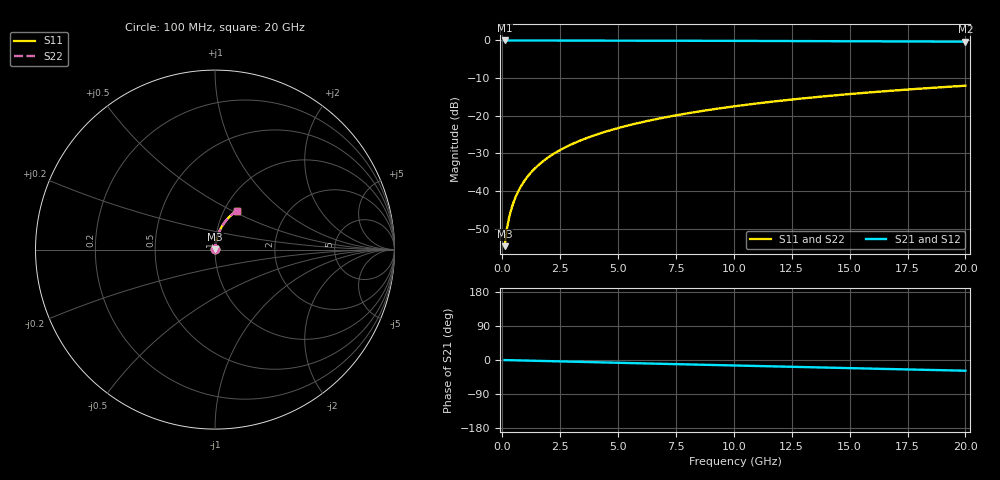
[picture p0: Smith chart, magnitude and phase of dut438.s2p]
! Touchstone file exported from HFSS 2026.1.0
!  File:  C:/ffzhzh/LocalFiles/Ansys_Project_Files/temp_train_BSMRDL_438_1783013032_51716.aedt
!  Generated:  01:25:20 AM Jul  3, 2026
!  Design:  BSMRDL
!  Project:  temp_train_BSMRDL_438_1783013032_51716
! Variables:
!  h_bsmrdl = 5.73um
!  h_ox = 20um
!  h_rdl = 5um
!  h_sub = 80um
!  h_tmrdl = 5um
!  h_tsv = 80um
!  h_via = 3um
!  l_bsmrdl = 398.31um
!  l_sub = 798.31um
!  l_tmrdl = 200um
!  m_sub = 200um
!  pitch = 57.39um
!  r_tsv = 6um
!  s_tmrdl = 10um
!  w_bsmrdl = 28.36um
!  w_sub = 500um
!  w_tmrdl = 12um
!  x_tsv_center1 = 206um
!  x_tsv_center2 = 632.67um
!  x_tsv_center3 = 844.67um
!  x_tsv_center4 = 1271.34um
!  x_tsv_center5 = 1483.34um
!  x_tsv_center6 = 1910.01um
# GHz S MA R 50.000000
! Terminal data exported
! Port[1] = BSM_RDL1_1_T1
! Port[2] = BSM_RDL1_1_T2
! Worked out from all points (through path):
!   200 points, 100 MHz to 20 GHz, reference 50 ohm
!   highest |S21| = -0.01 dB at 100 MHz (marker M1); lowest = -0.3 dB at 20 GHz (marker M2)
!   group delay of S21, straight-line fit = 3.93 ps
!   lowest |S11| = -54.6 dB at 100 MHz (marker M3), VSWR 1.00, Z = 50.1 + j0.154 ohm
!   |S11| at or under -10 dB: start of sweep to end of sweep
!   |S22| runs from -54.6 to -12.0 dB; largest |S21 - S12| = 4e-15
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0.1  0.001863 55.6  0.999 -0.2  0.999 -0.2  0.001863 55.6
! Gamma 0 0 0 0
! Port Impedance 50 0 50 0
0.2  0.00319 68.8  0.9989 -0.3  0.9989 -0.3  0.00319 68.8
0.3  0.004547 74.3  0.9988 -0.5  0.9988 -0.5  0.004547 74.3
0.4  0.005922 77.4  0.9988 -0.6  0.9988 -0.6  0.005922 77.4
0.5  0.00731 79.3  0.9987 -0.8  0.9987 -0.8  0.00731 79.3
0.7  0.01011 81.5  0.9986 -1.1  0.9986 -1.1  0.01011 81.5
0.8  0.01151 82.1  0.9986 -1.2  0.9986 -1.2  0.01151 82.1
1  0.01432 82.9  0.9985 -1.5  0.9985 -1.5  0.01432 82.8
1.2  0.01713 83.2  0.9984 -1.8  0.9984 -1.8  0.01713 83.2
1.4  0.01993 83.4  0.9982 -2.1  0.9982 -2.1  0.01993 83.4
1.7  0.02411 83.4  0.998 -2.5  0.998 -2.5  0.02411 83.4
2  0.02827 83.3  0.9978 -3.0  0.9978 -3.0  0.02827 83.3
2.7  0.03788 82.7  0.9971 -4.0  0.9971 -4.0  0.03788 82.7
3.5  0.04872 81.8  0.9962 -5.2  0.9962 -5.2  0.04872 81.8
4.2  0.05809 80.9  0.9954 -6.2  0.9954 -6.2  0.05809 80.9
5  0.06872 80.0  0.9944 -7.3  0.9944 -7.3  0.06872 80.0
6.8  0.09233 77.7  0.9919 -9.9  0.9919 -9.9  0.09233 77.7
8.3  0.1117 75.8  0.9895 -12.1  0.9895 -12.1  0.1117 75.7
10.1  0.1346 73.4  0.9862 -14.6  0.9862 -14.6  0.1346 73.4
13.4  0.1752 69.0  0.9792 -19.3  0.9792 -19.3  0.1752 69.0
16.7  0.214 64.6  0.9709 -23.8  0.9709 -23.8  0.214 64.6
20  0.2506 60.3  0.9617 -28.3  0.9617 -28.3  0.2506 60.3
